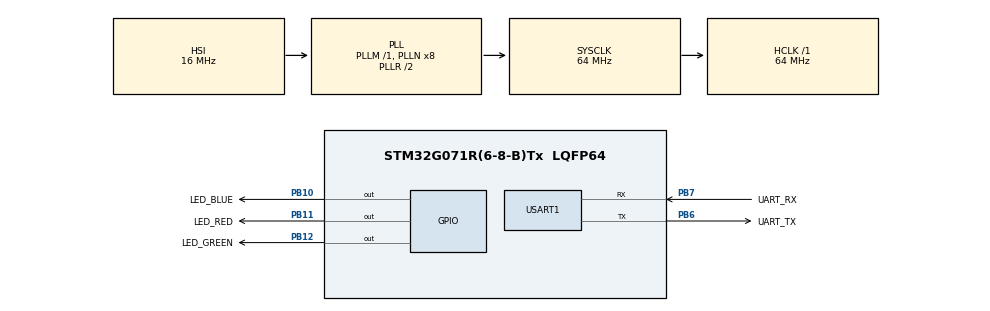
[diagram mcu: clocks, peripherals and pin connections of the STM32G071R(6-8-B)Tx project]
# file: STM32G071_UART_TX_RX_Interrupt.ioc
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Mcu.Family=STM32G0
Mcu.Name=STM32G071R(6-8-B)Tx
Mcu.Package=LQFP64
NVIC.USART1_IRQn=true\:0\:0\:false\:false\:true\:true\:true\:true
PA13.Mode=Serial_Wire
PA13.Signal=SYS_SWDIO
PA14-BOOT0.Mode=Serial_Wire
PA14-BOOT0.Signal=SYS_SWCLK
PB10.GPIO_Label=LED_BLUE
PB10.Signal=GPIO_Output
PB11.GPIO_Label=LED_RED
PB11.Signal=GPIO_Output
PB12.GPIO_Label=LED_GREEN
PB12.Signal=GPIO_Output
PB6.GPIO_Label=UART_TX
PB6.Mode=Asynchronous
PB6.Signal=USART1_TX
PB7.GPIO_Label=UART_RX
PB7.Mode=Asynchronous
PB7.Signal=USART1_RX
ProjectManager.HeapSize=0x200
ProjectManager.StackSize=0x400
ProjectManager.TargetToolchain=STM32CubeIDE
RCC.ADCFreq_Value=64000000
RCC.AHBFreq_Value=64000000
RCC.CortexFreq_Value=64000000
RCC.EXTERNAL_CLOCK_VALUE=48000
RCC.HCLKFreq_Value=64000000
RCC.HSE_VALUE=8000000
RCC.HSI_VALUE=16000000
RCC.LSE_VALUE=32768
RCC.SYSCLKFreq_VALUE=64000000
RCC.SYSCLKSource=RCC_SYSCLKSOURCE_PLLCLK
RCC.VCOOutputFreq_Value=128000000
USART1.VirtualMode-Asynchronous=VM_ASYNC
board=custom

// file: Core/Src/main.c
/* USER CODE BEGIN Header */
/**
  ******************************************************************************
  * @file           : main.c
  * @brief          : Main program body
  ******************************************************************************
  * @attention
  *
  * Copyright (c) 2024 STMicroelectronics.
  * All rights reserved.
  *
  * This software is licensed under terms that can be found in the LICENSE file
  * in the root directory of this software component.
  * If no LICENSE file comes with this software, it is provided AS-IS.
  *
  ******************************************************************************
  */
/* USER CODE END Header */
#include "main.h"

/* USER CODE BEGIN Includes */
#include <stdbool.h>
#include <string.h>

/* USER CODE END Includes */

UART_HandleTypeDef huart1;

/* USER CODE BEGIN PV */
uint16_t SysTick_Counter;
bool Blue_Led_Flag;
bool rx_cplt;
bool tx_cplt;

/* USER CODE END PV */

void SystemClock_Config(void);
static void MX_GPIO_Init(void);
static void MX_USART1_UART_Init(void);
/* USER CODE BEGIN PFP */

void clear_String(char* string);
uint8_t string_Length(char* string);

/* USER CODE END PFP */

/* USER CODE BEGIN 0 */

uint8_t tx_buff[] = {65, 66, 67, 68, 69, 70, 71, 72, 00}; // ABCDEFGHIJ in ASCII code
uint8_t rx_buff[9];

/*void SysTick_Handler(void)
{
	SysTick_Counter++;
	if(SysTick_Counter > 5000)
	{
		Blue_Led_Flag = true;
		SysTick_Counter = 0;
	}
}*/

void clear_String(char* string)
{
	uint8_t index = 0;
	for(index = 0; index < 10; index++)
	{
		string[index] = '\0';
	}
}

uint8_t string_Length(char* string)
{
	uint8_t index = 0;

	while(string[index] != '\0')
	{
		index++;
	}

	return index;
}
/* USER CODE END 0 */

int main(void)
{

  /* MCU Configuration--------------------------------------------------------*/

  /* Reset of all peripherals, Initializes the Flash interface and the Systick. */
  HAL_Init();

  /* Configure the system clock */
  SystemClock_Config();

  /* Initialize all configured peripherals */
  MX_GPIO_Init();
  MX_USART1_UART_Init();
  /* USER CODE BEGIN 2 */
  HAL_UART_Receive_IT(&huart1, rx_buff, sizeof(rx_buff));

  /* USER CODE END 2 */

  /* Infinite loop */
  /* USER CODE BEGIN WHILE */
  while (true)
  {
	  if(Blue_Led_Flag == true)
	  {
		  HAL_GPIO_TogglePin(LED_BLUE_GPIO_Port, LED_BLUE_Pin);
		  Blue_Led_Flag = false;

		  /*if(tx_cplt == true)
		  {
			  clear_String((char*)tx_buff);
			  tx_cplt = false;
		  }*/
	  }

	  if(rx_cplt == true)
	  {
		  strcpy((char*)tx_buff, (char*)rx_buff);
		  //clear_String((char*)rx_buff);
		  rx_cplt = false;
		  HAL_UART_Transmit_IT(&huart1, tx_buff, sizeof(tx_buff));
	  }

    /* USER CODE END WHILE */

  }
}

void SystemClock_Config(void)
{
  RCC_OscInitTypeDef RCC_OscInitStruct = {0};
  RCC_ClkInitTypeDef RCC_ClkInitStruct = {0};

  /** Configure the main internal regulator output voltage
  */
  HAL_PWREx_ControlVoltageScaling(PWR_REGULATOR_VOLTAGE_SCALE1);

  /** Initializes the RCC Oscillators according to the specified parameters
  * in the RCC_OscInitTypeDef structure.
  */
  RCC_OscInitStruct.OscillatorType = RCC_OSCILLATORTYPE_HSI;
  RCC_OscInitStruct.HSIState = RCC_HSI_ON;
  RCC_OscInitStruct.HSIDiv = RCC_HSI_DIV1;
  RCC_OscInitStruct.HSICalibrationValue = RCC_HSICALIBRATION_DEFAULT;
  RCC_OscInitStruct.PLL.PLLState = RCC_PLL_ON;
  RCC_OscInitStruct.PLL.PLLSource = RCC_PLLSOURCE_HSI;
  RCC_OscInitStruct.PLL.PLLM = RCC_PLLM_DIV1;
  RCC_OscInitStruct.PLL.PLLN = 8;
  RCC_OscInitStruct.PLL.PLLP = RCC_PLLP_DIV2;
  RCC_OscInitStruct.PLL.PLLQ = RCC_PLLQ_DIV2;
  RCC_OscInitStruct.PLL.PLLR = RCC_PLLR_DIV2;
  if (HAL_RCC_OscConfig(&RCC_OscInitStruct) != HAL_OK)
  {
    Error_Handler();
  }

  /** Initializes the CPU, AHB and APB buses clocks
  */
  RCC_ClkInitStruct.ClockType = RCC_CLOCKTYPE_HCLK|RCC_CLOCKTYPE_SYSCLK
                              |RCC_CLOCKTYPE_PCLK1;
  RCC_ClkInitStruct.SYSCLKSource = RCC_SYSCLKSOURCE_PLLCLK;
  RCC_ClkInitStruct.AHBCLKDivider = RCC_SYSCLK_DIV1;
  RCC_ClkInitStruct.APB1CLKDivider = RCC_HCLK_DIV1;

  if (HAL_RCC_ClockConfig(&RCC_ClkInitStruct, FLASH_LATENCY_2) != HAL_OK)
  {
    Error_Handler();
  }
}

static void MX_USART1_UART_Init(void)
{

  huart1.Instance = USART1;
  huart1.Init.BaudRate = 115200;
  huart1.Init.WordLength = UART_WORDLENGTH_8B;
  huart1.Init.StopBits = UART_STOPBITS_1;
  huart1.Init.Parity = UART_PARITY_NONE;
  huart1.Init.Mode = UART_MODE_TX_RX;
  huart1.Init.HwFlowCtl = UART_HWCONTROL_NONE;
  huart1.Init.OverSampling = UART_OVERSAMPLING_16;
  huart1.Init.OneBitSampling = UART_ONE_BIT_SAMPLE_DISABLE;
  huart1.Init.ClockPrescaler = UART_PRESCALER_DIV1;
  huart1.AdvancedInit.AdvFeatureInit = UART_ADVFEATURE_NO_INIT;
  if (HAL_UART_Init(&huart1) != HAL_OK)
  {
    Error_Handler();
  }
  if (HAL_UARTEx_SetTxFifoThreshold(&huart1, UART_TXFIFO_THRESHOLD_1_8) != HAL_OK)
  {
    Error_Handler();
  }
  if (HAL_UARTEx_SetRxFifoThreshold(&huart1, UART_RXFIFO_THRESHOLD_1_8) != HAL_OK)
  {
    Error_Handler();
  }
  if (HAL_UARTEx_DisableFifoMode(&huart1) != HAL_OK)
  {
    Error_Handler();
  }

}

static void MX_GPIO_Init(void)
{
  GPIO_InitTypeDef GPIO_InitStruct = {0};

  /* GPIO Ports Clock Enable */
  __HAL_RCC_GPIOB_CLK_ENABLE();
  __HAL_RCC_GPIOA_CLK_ENABLE();

  /*Configure GPIO pin Output Level */
  HAL_GPIO_WritePin(GPIOB, LED_BLUE_Pin|LED_RED_Pin|LED_GREEN_Pin, GPIO_PIN_RESET);

  /*Configure GPIO pins : LED_BLUE_Pin LED_RED_Pin LED_GREEN_Pin */
  GPIO_InitStruct.Pin = LED_BLUE_Pin|LED_RED_Pin|LED_GREEN_Pin;
  GPIO_InitStruct.Mode = GPIO_MODE_OUTPUT_PP;
  GPIO_InitStruct.Pull = GPIO_NOPULL;
  GPIO_InitStruct.Speed = GPIO_SPEED_FREQ_LOW;
  HAL_GPIO_Init(GPIOB, &GPIO_InitStruct);

}

/* USER CODE BEGIN 4 */
void HAL_UART_RxCpltCallback(UART_HandleTypeDef *huart)
{
	HAL_UART_Receive_IT(&huart1, rx_buff, sizeof(rx_buff));

	rx_cplt = true;
}

void HAL_UART_TxCpltCallback(UART_HandleTypeDef *huart)
{
	tx_cplt = true;
}

/* USER CODE END 4 */

void Error_Handler(void)
{
  __disable_irq();
  while (1)
  {
  }
}
